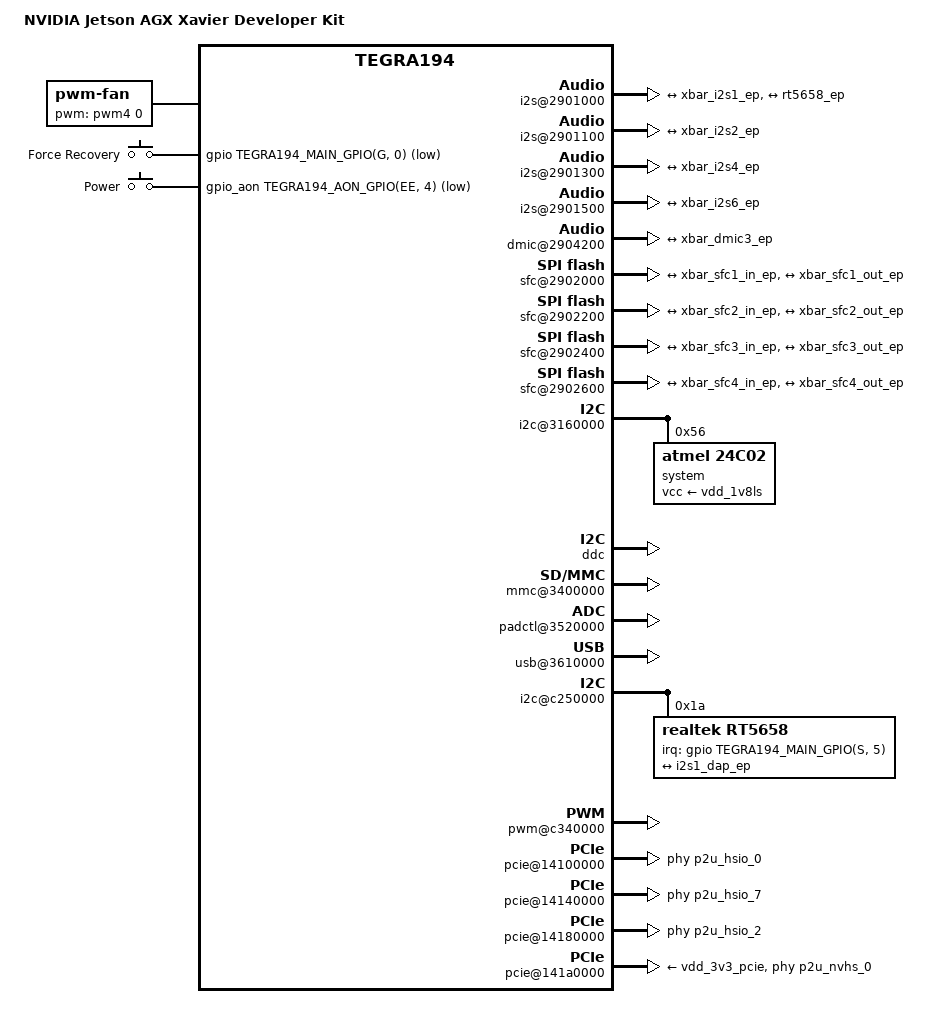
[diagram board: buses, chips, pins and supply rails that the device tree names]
// SPDX-License-Identifier: GPL-2.0
/dts-v1/;

#include <dt-bindings/input/linux-event-codes.h>
#include <dt-bindings/input/gpio-keys.h>

#include "tegra194-p2888.dtsi"

/ {
	model = "NVIDIA Jetson AGX Xavier Developer Kit";
	compatible = "nvidia,p2972-0000", "nvidia,tegra194";

	bus@0 {
		aconnect@2900000 {
			status = "okay";

			dma-controller@2930000 {
				status = "okay";
			};

			interrupt-controller@2a40000 {
				status = "okay";
			};

			ahub@2900800 {
				status = "okay";

				ports {
					#address-cells = <1>;
					#size-cells = <0>;

					port@0 {
						reg = <0x0>;

						xbar_admaif0_ep: endpoint {
							remote-endpoint = <&admaif0_ep>;
						};
					};

					port@1 {
						reg = <0x1>;

						xbar_admaif1_ep: endpoint {
							remote-endpoint = <&admaif1_ep>;
						};
					};

					port@2 {
						reg = <0x2>;

						xbar_admaif2_ep: endpoint {
							remote-endpoint = <&admaif2_ep>;
						};
					};

					port@3 {
						reg = <0x3>;

						xbar_admaif3_ep: endpoint {
							remote-endpoint = <&admaif3_ep>;
						};
					};

					port@4 {
						reg = <0x4>;

						xbar_admaif4_ep: endpoint {
							remote-endpoint = <&admaif4_ep>;
						};
					};

					port@5 {
						reg = <0x5>;

						xbar_admaif5_ep: endpoint {
							remote-endpoint = <&admaif5_ep>;
						};
					};

					port@6 {
						reg = <0x6>;

						xbar_admaif6_ep: endpoint {
							remote-endpoint = <&admaif6_ep>;
						};
					};

					port@7 {
						reg = <0x7>;

						xbar_admaif7_ep: endpoint {
							remote-endpoint = <&admaif7_ep>;
						};
					};

					port@8 {
						reg = <0x8>;

						xbar_admaif8_ep: endpoint {
							remote-endpoint = <&admaif8_ep>;
						};
					};

					port@9 {
						reg = <0x9>;

						xbar_admaif9_ep: endpoint {
							remote-endpoint = <&admaif9_ep>;
						};
					};

					port@a {
						reg = <0xa>;

						xbar_admaif10_ep: endpoint {
							remote-endpoint = <&admaif10_ep>;
						};
					};

					port@b {
						reg = <0xb>;

						xbar_admaif11_ep: endpoint {
							remote-endpoint = <&admaif11_ep>;
						};
					};

					port@c {
						reg = <0xc>;

						xbar_admaif12_ep: endpoint {
							remote-endpoint = <&admaif12_ep>;
						};
					};

					port@d {
						reg = <0xd>;

						xbar_admaif13_ep: endpoint {
							remote-endpoint = <&admaif13_ep>;
						};
					};

					port@e {
						reg = <0xe>;

						xbar_admaif14_ep: endpoint {
							remote-endpoint = <&admaif14_ep>;
						};
					};

					port@f {
						reg = <0xf>;

						xbar_admaif15_ep: endpoint {
							remote-endpoint = <&admaif15_ep>;
						};
					};

					port@10 {
						reg = <0x10>;

						xbar_admaif16_ep: endpoint {
							remote-endpoint = <&admaif16_ep>;
						};
					};

					port@11 {
						reg = <0x11>;

						xbar_admaif17_ep: endpoint {
							remote-endpoint = <&admaif17_ep>;
						};
					};

					port@12 {
						reg = <0x12>;

						xbar_admaif18_ep: endpoint {
							remote-endpoint = <&admaif18_ep>;
						};
					};

					port@13 {
						reg = <0x13>;

						xbar_admaif19_ep: endpoint {
							remote-endpoint = <&admaif19_ep>;
						};
					};

					xbar_i2s1_port: port@14 {
						reg = <0x14>;

						xbar_i2s1_ep: endpoint {
							remote-endpoint = <&i2s1_cif_ep>;
						};
					};

					xbar_i2s2_port: port@15 {
						reg = <0x15>;

						xbar_i2s2_ep: endpoint {
							remote-endpoint = <&i2s2_cif_ep>;
						};
					};

					xbar_i2s4_port: port@17 {
						reg = <0x17>;

						xbar_i2s4_ep: endpoint {
							remote-endpoint = <&i2s4_cif_ep>;
						};
					};

					xbar_i2s6_port: port@19 {
						reg = <0x19>;

						xbar_i2s6_ep: endpoint {
							remote-endpoint = <&i2s6_cif_ep>;
						};
					};

					xbar_dmic3_port: port@1c {
						reg = <0x1c>;

						xbar_dmic3_ep: endpoint {
							remote-endpoint = <&dmic3_cif_ep>;
						};
					};

					xbar_sfc1_in_port: port@20 {
						reg = <0x20>;

						xbar_sfc1_in_ep: endpoint {
							remote-endpoint = <&sfc1_cif_in_ep>;
						};
					};

					port@21 {
						reg = <0x21>;

						xbar_sfc1_out_ep: endpoint {
							remote-endpoint = <&sfc1_cif_out_ep>;
						};
					};

					xbar_sfc2_in_port: port@22 {
						reg = <0x22>;

						xbar_sfc2_in_ep: endpoint {
							remote-endpoint = <&sfc2_cif_in_ep>;
						};
					};

					port@23 {
						reg = <0x23>;

						xbar_sfc2_out_ep: endpoint {
							remote-endpoint = <&sfc2_cif_out_ep>;
						};
					};

					xbar_sfc3_in_port: port@24 {
						reg = <0x24>;

						xbar_sfc3_in_ep: endpoint {
							remote-endpoint = <&sfc3_cif_in_ep>;
						};
					};

					port@25 {
						reg = <0x25>;

						xbar_sfc3_out_ep: endpoint {
							remote-endpoint = <&sfc3_cif_out_ep>;
						};
					};

					xbar_sfc4_in_port: port@26 {
						reg = <0x26>;

						xbar_sfc4_in_ep: endpoint {
							remote-endpoint = <&sfc4_cif_in_ep>;
						};
					};

					port@27 {
						reg = <0x27>;

						xbar_sfc4_out_ep: endpoint {
							remote-endpoint = <&sfc4_cif_out_ep>;
						};
					};

					xbar_mvc1_in_port: port@28 {
						reg = <0x28>;

						xbar_mvc1_in_ep: endpoint {
							remote-endpoint = <&mvc1_cif_in_ep>;
						};
					};

					port@29 {
						reg = <0x29>;

						xbar_mvc1_out_ep: endpoint {
							remote-endpoint = <&mvc1_cif_out_ep>;
						};
					};

					xbar_mvc2_in_port: port@2a {
						reg = <0x2a>;

						xbar_mvc2_in_ep: endpoint {
							remote-endpoint = <&mvc2_cif_in_ep>;
						};
					};

					port@2b {
						reg = <0x2b>;

						xbar_mvc2_out_ep: endpoint {
							remote-endpoint = <&mvc2_cif_out_ep>;
						};
					};

					xbar_amx1_in1_port: port@2c {
						reg = <0x2c>;

						xbar_amx1_in1_ep: endpoint {
							remote-endpoint = <&amx1_in1_ep>;
						};
					};

					xbar_amx1_in2_port: port@2d {
						reg = <0x2d>;

						xbar_amx1_in2_ep: endpoint {
							remote-endpoint = <&amx1_in2_ep>;
						};
					};

					xbar_amx1_in3_port: port@2e {
						reg = <0x2e>;

						xbar_amx1_in3_ep: endpoint {
							remote-endpoint = <&amx1_in3_ep>;
						};
					};

					xbar_amx1_in4_port: port@2f {
						reg = <0x2f>;

						xbar_amx1_in4_ep: endpoint {
							remote-endpoint = <&amx1_in4_ep>;
						};
					};

					port@30 {
						reg = <0x30>;

						xbar_amx1_out_ep: endpoint {
							remote-endpoint = <&amx1_out_ep>;
						};
					};

					xbar_amx2_in1_port: port@31 {
						reg = <0x31>;

						xbar_amx2_in1_ep: endpoint {
							remote-endpoint = <&amx2_in1_ep>;
						};
					};

					xbar_amx2_in2_port: port@32 {
						reg = <0x32>;

						xbar_amx2_in2_ep: endpoint {
							remote-endpoint = <&amx2_in2_ep>;
						};
					};

					xbar_amx2_in3_port: port@33 {
						reg = <0x33>;

						xbar_amx2_in3_ep: endpoint {
							remote-endpoint = <&amx2_in3_ep>;
						};
					};

					xbar_amx2_in4_port: port@34 {
						reg = <0x34>;

						xbar_amx2_in4_ep: endpoint {
							remote-endpoint = <&amx2_in4_ep>;
						};
					};

					port@35 {
						reg = <0x35>;

						xbar_amx2_out_ep: endpoint {
							remote-endpoint = <&amx2_out_ep>;
						};
					};

					xbar_amx3_in1_port: port@36 {
						reg = <0x36>;

						xbar_amx3_in1_ep: endpoint {
							remote-endpoint = <&amx3_in1_ep>;
						};
					};

					xbar_amx3_in2_port: port@37 {
						reg = <0x37>;

						xbar_amx3_in2_ep: endpoint {
							remote-endpoint = <&amx3_in2_ep>;
						};
					};

					xbar_amx3_in3_port: port@38 {
						reg = <0x38>;

						xbar_amx3_in3_ep: endpoint {
							remote-endpoint = <&amx3_in3_ep>;
						};
					};

					xbar_amx3_in4_port: port@39 {
						reg = <0x39>;

						xbar_amx3_in4_ep: endpoint {
							remote-endpoint = <&amx3_in4_ep>;
						};
					};

					port@3a {
						reg = <0x3a>;

						xbar_amx3_out_ep: endpoint {
							remote-endpoint = <&amx3_out_ep>;
						};
					};

					xbar_amx4_in1_port: port@3b {
						reg = <0x3b>;

						xbar_amx4_in1_ep: endpoint {
							remote-endpoint = <&amx4_in1_ep>;
						};
					};

					xbar_amx4_in2_port: port@3c {
						reg = <0x3c>;

						xbar_amx4_in2_ep: endpoint {
							remote-endpoint = <&amx4_in2_ep>;
						};
					};

					xbar_amx4_in3_port: port@3d {
						reg = <0x3d>;

						xbar_amx4_in3_ep: endpoint {
							remote-endpoint = <&amx4_in3_ep>;
						};
					};

					xbar_amx4_in4_port: port@3e {
						reg = <0x3e>;

						xbar_amx4_in4_ep: endpoint {
							remote-endpoint = <&amx4_in4_ep>;
						};
					};

					port@3f {
						reg = <0x3f>;

						xbar_amx4_out_ep: endpoint {
							remote-endpoint = <&amx4_out_ep>;
						};
					};

					xbar_adx1_in_port: port@40 {
						reg = <0x40>;

						xbar_adx1_in_ep: endpoint {
							remote-endpoint = <&adx1_in_ep>;
						};
					};

					port@41 {
						reg = <0x41>;

						xbar_adx1_out1_ep: endpoint {
							remote-endpoint = <&adx1_out1_ep>;
						};
					};

					port@42 {
						reg = <0x42>;

						xbar_adx1_out2_ep: endpoint {
							remote-endpoint = <&adx1_out2_ep>;
						};
					};

					port@43 {
						reg = <0x43>;

						xbar_adx1_out3_ep: endpoint {
							remote-endpoint = <&adx1_out3_ep>;
						};
					};

					port@44 {
						reg = <0x44>;

						xbar_adx1_out4_ep: endpoint {
							remote-endpoint = <&adx1_out4_ep>;
						};
					};

					xbar_adx2_in_port: port@45 {
						reg = <0x45>;

						xbar_adx2_in_ep: endpoint {
							remote-endpoint = <&adx2_in_ep>;
						};
					};

					port@46 {
						reg = <0x46>;

						xbar_adx2_out1_ep: endpoint {
							remote-endpoint = <&adx2_out1_ep>;
						};
					};

					port@47 {
						reg = <0x47>;

						xbar_adx2_out2_ep: endpoint {
							remote-endpoint = <&adx2_out2_ep>;
						};
					};

					port@48 {
						reg = <0x48>;

						xbar_adx2_out3_ep: endpoint {
							remote-endpoint = <&adx2_out3_ep>;
						};
					};

					port@49 {
						reg = <0x49>;

						xbar_adx2_out4_ep: endpoint {
							remote-endpoint = <&adx2_out4_ep>;
						};
					};

					xbar_adx3_in_port: port@4a {
						reg = <0x4a>;

						xbar_adx3_in_ep: endpoint {
							remote-endpoint = <&adx3_in_ep>;
						};
					};

					port@4b {
						reg = <0x4b>;

						xbar_adx3_out1_ep: endpoint {
							remote-endpoint = <&adx3_out1_ep>;
						};
					};

					port@4c {
						reg = <0x4c>;

						xbar_adx3_out2_ep: endpoint {
							remote-endpoint = <&adx3_out2_ep>;
						};
					};

					port@4d {
						reg = <0x4d>;

						xbar_adx3_out3_ep: endpoint {
							remote-endpoint = <&adx3_out3_ep>;
						};
					};

					port@4e {
						reg = <0x4e>;

						xbar_adx3_out4_ep: endpoint {
							remote-endpoint = <&adx3_out4_ep>;
						};
					};

					xbar_adx4_in_port: port@4f {
						reg = <0x4f>;

						xbar_adx4_in_ep: endpoint {
							remote-endpoint = <&adx4_in_ep>;
						};
					};

					port@50 {
						reg = <0x50>;

						xbar_adx4_out1_ep: endpoint {
							remote-endpoint = <&adx4_out1_ep>;
						};
					};

					port@51 {
						reg = <0x51>;

						xbar_adx4_out2_ep: endpoint {
							remote-endpoint = <&adx4_out2_ep>;
						};
					};

					port@52 {
						reg = <0x52>;

						xbar_adx4_out3_ep: endpoint {
							remote-endpoint = <&adx4_out3_ep>;
						};
					};

					port@53 {
						reg = <0x53>;

						xbar_adx4_out4_ep: endpoint {
							remote-endpoint = <&adx4_out4_ep>;
						};
					};

					xbar_mixer_in1_port: port@54 {
						reg = <0x54>;

						xbar_mixer_in1_ep: endpoint {
							remote-endpoint = <&mixer_in1_ep>;
						};
					};

					xbar_mixer_in2_port: port@55 {
						reg = <0x55>;

						xbar_mixer_in2_ep: endpoint {
							remote-endpoint = <&mixer_in2_ep>;
						};
					};

					xbar_mixer_in3_port: port@56 {
						reg = <0x56>;

						xbar_mixer_in3_ep: endpoint {
							remote-endpoint = <&mixer_in3_ep>;
						};
					};

					xbar_mixer_in4_port: port@57 {
						reg = <0x57>;

						xbar_mixer_in4_ep: endpoint {
							remote-endpoint = <&mixer_in4_ep>;
						};
					};

					xbar_mixer_in5_port: port@58 {
						reg = <0x58>;

						xbar_mixer_in5_ep: endpoint {
							remote-endpoint = <&mixer_in5_ep>;
						};
					};

					xbar_mixer_in6_port: port@59 {
						reg = <0x59>;

						xbar_mixer_in6_ep: endpoint {
							remote-endpoint = <&mixer_in6_ep>;
						};
					};

					xbar_mixer_in7_port: port@5a {
						reg = <0x5a>;

						xbar_mixer_in7_ep: endpoint {
							remote-endpoint = <&mixer_in7_ep>;
						};
					};

					xbar_mixer_in8_port: port@5b {
						reg = <0x5b>;

						xbar_mixer_in8_ep: endpoint {
							remote-endpoint = <&mixer_in8_ep>;
						};
					};

					xbar_mixer_in9_port: port@5c {
						reg = <0x5c>;

						xbar_mixer_in9_ep: endpoint {
							remote-endpoint = <&mixer_in9_ep>;
						};
					};

					xbar_mixer_in10_port: port@5d {
						reg = <0x5d>;

						xbar_mixer_in10_ep: endpoint {
							remote-endpoint = <&mixer_in10_ep>;
						};
					};

					port@5e {
						reg = <0x5e>;

						xbar_mixer_out1_ep: endpoint {
							remote-endpoint = <&mixer_out1_ep>;
						};
					};

					port@5f {
						reg = <0x5f>;

						xbar_mixer_out2_ep: endpoint {
							remote-endpoint = <&mixer_out2_ep>;
						};
					};

					port@60 {
						reg = <0x60>;

						xbar_mixer_out3_ep: endpoint {
							remote-endpoint = <&mixer_out3_ep>;
						};
					};

					port@61 {
						reg = <0x61>;

						xbar_mixer_out4_ep: endpoint {
							remote-endpoint = <&mixer_out4_ep>;
						};
					};

					port@62 {
						reg = <0x62>;

						xbar_mixer_out5_ep: endpoint {
							remote-endpoint = <&mixer_out5_ep>;
						};
					};

					xbar_asrc_in1_port: port@63 {
						reg = <0x63>;

						xbar_asrc_in1_ep: endpoint {
							remote-endpoint = <&asrc_in1_ep>;
						};
					};

					port@64 {
						reg = <0x64>;

						xbar_asrc_out1_ep: endpoint {
							remote-endpoint = <&asrc_out1_ep>;
						};
					};

					xbar_asrc_in2_port: port@65 {
						reg = <0x65>;

						xbar_asrc_in2_ep: endpoint {
							remote-endpoint = <&asrc_in2_ep>;
						};
					};

					port@66 {
						reg = <0x66>;

						xbar_asrc_out2_ep: endpoint {
							remote-endpoint = <&asrc_out2_ep>;
						};
					};

					xbar_asrc_in3_port: port@67 {
						reg = <0x67>;

						xbar_asrc_in3_ep: endpoint {
							remote-endpoint = <&asrc_in3_ep>;
						};
					};

					port@68 {
						reg = <0x68>;

						xbar_asrc_out3_ep: endpoint {
							remote-endpoint = <&asrc_out3_ep>;
						};
					};

					xbar_asrc_in4_port: port@69 {
						reg = <0x69>;

						xbar_asrc_in4_ep: endpoint {
							remote-endpoint = <&asrc_in4_ep>;
						};
					};

					port@6a {
						reg = <0x6a>;

						xbar_asrc_out4_ep: endpoint {
							remote-endpoint = <&asrc_out4_ep>;
						};
					};

					xbar_asrc_in5_port: port@6b {
						reg = <0x6b>;

						xbar_asrc_in5_ep: endpoint {
							remote-endpoint = <&asrc_in5_ep>;
						};
					};

					port@6c {
						reg = <0x6c>;

						xbar_asrc_out5_ep: endpoint {
							remote-endpoint = <&asrc_out5_ep>;
						};
					};

					xbar_asrc_in6_port: port@6d {
						reg = <0x6d>;

						xbar_asrc_in6_ep: endpoint {
							remote-endpoint = <&asrc_in6_ep>;
						};
					};

					port@6e {
						reg = <0x6e>;

						xbar_asrc_out6_ep: endpoint {
							remote-endpoint = <&asrc_out6_ep>;
						};
					};

					xbar_asrc_in7_port: port@6f {
						reg = <0x6f>;

						xbar_asrc_in7_ep: endpoint {
							remote-endpoint = <&asrc_in7_ep>;
						};
					};
				};

				admaif@290f000 {
					status = "okay";

					ports {
						#address-cells = <1>;
						#size-cells = <0>;

						admaif0_port: port@0 {
							reg = <0x0>;

							admaif0_ep: endpoint {
								remote-endpoint = <&xbar_admaif0_ep>;
							};
						};

						admaif1_port: port@1 {
							reg = <0x1>;

							admaif1_ep: endpoint {
								remote-endpoint = <&xbar_admaif1_ep>;
							};
						};

						admaif2_port: port@2 {
							reg = <0x2>;

							admaif2_ep: endpoint {
								remote-endpoint = <&xbar_admaif2_ep>;
							};
						};

						admaif3_port: port@3 {
							reg = <0x3>;

							admaif3_ep: endpoint {
								remote-endpoint = <&xbar_admaif3_ep>;
							};
						};

						admaif4_port: port@4 {
							reg = <0x4>;

							admaif4_ep: endpoint {
								remote-endpoint = <&xbar_admaif4_ep>;
							};
						};

						admaif5_port: port@5 {
							reg = <0x5>;

							admaif5_ep: endpoint {
								remote-endpoint = <&xbar_admaif5_ep>;
							};
						};

						admaif6_port: port@6 {
							reg = <0x6>;

							admaif6_ep: endpoint {
								remote-endpoint = <&xbar_admaif6_ep>;
							};
						};

						admaif7_port: port@7 {
							reg = <0x7>;

							admaif7_ep: endpoint {
								remote-endpoint = <&xbar_admaif7_ep>;
							};
						};

						admaif8_port: port@8 {
							reg = <0x8>;

							admaif8_ep: endpoint {
								remote-endpoint = <&xbar_admaif8_ep>;
							};
						};

						admaif9_port: port@9 {
							reg = <0x9>;

							admaif9_ep: endpoint {
								remote-endpoint = <&xbar_admaif9_ep>;
							};
						};

						admaif10_port: port@a {
							reg = <0xa>;

							admaif10_ep: endpoint {
								remote-endpoint = <&xbar_admaif10_ep>;
							};
						};

						admaif11_port: port@b {
							reg = <0xb>;

							admaif11_ep: endpoint {
								remote-endpoint = <&xbar_admaif11_ep>;
							};
						};

						admaif12_port: port@c {
							reg = <0xc>;

							admaif12_ep: endpoint {
								remote-endpoint = <&xbar_admaif12_ep>;
							};
						};

						admaif13_port: port@d {
							reg = <0xd>;

							admaif13_ep: endpoint {
								remote-endpoint = <&xbar_admaif13_ep>;
							};
						};

						admaif14_port: port@e {
							reg = <0xe>;

							admaif14_ep: endpoint {
								remote-endpoint = <&xbar_admaif14_ep>;
							};
						};

						admaif15_port: port@f {
							reg = <0xf>;

							admaif15_ep: endpoint {
								remote-endpoint = <&xbar_admaif15_ep>;
							};
						};

						admaif16_port: port@10 {
							reg = <0x10>;

							admaif16_ep: endpoint {
								remote-endpoint = <&xbar_admaif16_ep>;
							};
						};

						admaif17_port: port@11 {
							reg = <0x11>;

							admaif17_ep: endpoint {
								remote-endpoint = <&xbar_admaif17_ep>;
							};
						};

						admaif18_port: port@12 {
							reg = <0x12>;

							admaif18_ep: endpoint {
								remote-endpoint = <&xbar_admaif18_ep>;
							};
						};

						admaif19_port: port@13 {
							reg = <0x13>;

							admaif19_ep: endpoint {
								remote-endpoint = <&xbar_admaif19_ep>;
							};
						};
					};
				};

				i2s@2901000 {
					status = "okay";

					ports {
						#address-cells = <1>;
						#size-cells = <0>;

						port@0 {
							reg = <0>;

							i2s1_cif_ep: endpoint {
								remote-endpoint = <&xbar_i2s1_ep>;
							};
						};

						i2s1_port: port@1 {
							reg = <1>;

							i2s1_dap_ep: endpoint {
								dai-format = "i2s";
								remote-endpoint = <&rt5658_ep>;
							};
						};
					};
				};

				i2s@2901100 {
					status = "okay";

					ports {
						#address-cells = <1>;
						#size-cells = <0>;

						port@0 {
							reg = <0>;

							i2s2_cif_ep: endpoint {
								remote-endpoint = <&xbar_i2s2_ep>;
							};
						};

						i2s2_port: port@1 {
							reg = <1>;

							i2s2_dap_ep: endpoint {
								dai-format = "i2s";
								/* Place holder for external Codec */
							};
						};
					};
				};

				i2s@2901300 {
					status = "okay";

					ports {
						#address-cells = <1>;
						#size-cells = <0>;

						port@0 {
							reg = <0>;

							i2s4_cif_ep: endpoint {
								remote-endpoint = <&xbar_i2s4_ep>;
							};
						};

						i2s4_port: port@1 {
							reg = <1>;

							i2s4_dap_ep: endpoint {
								dai-format = "i2s";
								/* Place holder for external Codec */
							};
						};
					};
				};

				i2s@2901500 {
					status = "okay";

					ports {
						#address-cells = <1>;
						#size-cells = <0>;

						port@0 {
							reg = <0>;

							i2s6_cif_ep: endpoint {
								remote-endpoint = <&xbar_i2s6_ep>;
							};
						};

						i2s6_port: port@1 {
							reg = <1>;

							i2s6_dap_ep: endpoint {
								dai-format = "i2s";
								/* Place holder for external Codec */
							};
						};
					};
				};

				dmic@2904200 {
					status = "okay";

					ports {
						#address-cells = <1>;
						#size-cells = <0>;

						port@0 {
							reg = <0>;

							dmic3_cif_ep: endpoint {
								remote-endpoint = <&xbar_dmic3_ep>;
							};
						};

						dmic3_port: port@1 {
							reg = <1>;

							dmic3_dap_ep: endpoint {
								/* Place holder for external Codec */
							};
						};
					};
				};

				sfc@2902000 {
					status = "okay";

					ports {
						#address-cells = <1>;
						#size-cells = <0>;

						port@0 {
							reg = <0>;

							sfc1_cif_in_ep: endpoint {
								remote-endpoint = <&xbar_sfc1_in_ep>;
							};
						};

						sfc1_out_port: port@1 {
							reg = <1>;

							sfc1_cif_out_ep: endpoint {
								remote-endpoint = <&xbar_sfc1_out_ep>;
							};
						};
					};
				};

				sfc@2902200 {
					status = "okay";

					ports {
						#address-cells = <1>;
						#size-cells = <0>;

						port@0 {
							reg = <0>;

							sfc2_cif_in_ep: endpoint {
								remote-endpoint = <&xbar_sfc2_in_ep>;
							};
						};

						sfc2_out_port: port@1 {
							reg = <1>;

							sfc2_cif_out_ep: endpoint {
								remote-endpoint = <&xbar_sfc2_out_ep>;
							};
						};
					};
				};

				sfc@2902400 {
					status = "okay";

					ports {
						#address-cells = <1>;
						#size-cells = <0>;

						port@0 {
							reg = <0>;

							sfc3_cif_in_ep: endpoint {
								remote-endpoint = <&xbar_sfc3_in_ep>;
							};
						};

						sfc3_out_port: port@1 {
							reg = <1>;

							sfc3_cif_out_ep: endpoint {
								remote-endpoint = <&xbar_sfc3_out_ep>;
							};
						};
					};
				};

				sfc@2902600 {
					status = "okay";

					ports {
						#address-cells = <1>;
						#size-cells = <0>;

						port@0 {
							reg = <0>;

							sfc4_cif_in_ep: endpoint {
								remote-endpoint = <&xbar_sfc4_in_ep>;
							};
						};

						sfc4_out_port: port@1 {
							reg = <1>;

							sfc4_cif_out_ep: endpoint {
								remote-endpoint = <&xbar_sfc4_out_ep>;
							};
						};
					};
				};

				mvc@290a000 {
					status = "okay";

					ports {
						#address-cells = <1>;
						#size-cells = <0>;

						port@0 {
							reg = <0>;

							mvc1_cif_in_ep: endpoint {
								remote-endpoint = <&xbar_mvc1_in_ep>;
							};
						};

						mvc1_out_port: port@1 {
							reg = <1>;

							mvc1_cif_out_ep: endpoint {
								remote-endpoint = <&xbar_mvc1_out_ep>;
							};
						};
					};
				};

				mvc@290a200 {
					status = "okay";

					ports {
						#address-cells = <1>;
						#size-cells = <0>;

						port@0 {
							reg = <0>;

							mvc2_cif_in_ep: endpoint {
								remote-endpoint = <&xbar_mvc2_in_ep>;
							};
						};

						mvc2_out_port: port@1 {
							reg = <1>;

							mvc2_cif_out_ep: endpoint {
								remote-endpoint = <&xbar_mvc2_out_ep>;
							};
						};
					};
				};

				amx@2903000 {
					status = "okay";

					ports {
						#address-cells = <1>;
						#size-cells = <0>;

						port@0 {
							reg = <0>;

							amx1_in1_ep: endpoint {
								remote-endpoint = <&xbar_amx1_in1_ep>;
							};
						};

						port@1 {
							reg = <1>;

							amx1_in2_ep: endpoint {
								remote-endpoint = <&xbar_amx1_in2_ep>;
							};
						};

						port@2 {
							reg = <2>;

							amx1_in3_ep: endpoint {
								remote-endpoint = <&xbar_amx1_in3_ep>;
							};
						};

						port@3 {
							reg = <3>;

							amx1_in4_ep: endpoint {
								remote-endpoint = <&xbar_amx1_in4_ep>;
							};
						};

						amx1_out_port: port@4 {
							reg = <4>;

							amx1_out_ep: endpoint {
								remote-endpoint = <&xbar_amx1_out_ep>;
							};
						};
					};
				};

				amx@2903100 {
					status = "okay";

					ports {
						#address-cells = <1>;
						#size-cells = <0>;

						port@0 {
							reg = <0>;

							amx2_in1_ep: endpoint {
								remote-endpoint = <&xbar_amx2_in1_ep>;
							};
						};

						port@1 {
							reg = <1>;

							amx2_in2_ep: endpoint {
								remote-endpoint = <&xbar_amx2_in2_ep>;
							};
						};

						amx2_in3_port: port@2 {
							reg = <2>;

							amx2_in3_ep: endpoint {
								remote-endpoint = <&xbar_amx2_in3_ep>;
							};
						};

						amx2_in4_port: port@3 {
							reg = <3>;

							amx2_in4_ep: endpoint {
								remote-endpoint = <&xbar_amx2_in4_ep>;
							};
						};

						amx2_out_port: port@4 {
							reg = <4>;

							amx2_out_ep: endpoint {
								remote-endpoint = <&xbar_amx2_out_ep>;
							};
						};
					};
				};

				amx@2903200 {
					status = "okay";

					ports {
						#address-cells = <1>;
						#size-cells = <0>;

						port@0 {
							reg = <0>;

							amx3_in1_ep: endpoint {
								remote-endpoint = <&xbar_amx3_in1_ep>;
							};
						};

						port@1 {
							reg = <1>;

							amx3_in2_ep: endpoint {
								remote-endpoint = <&xbar_amx3_in2_ep>;
							};
						};

						port@2 {
							reg = <2>;

							amx3_in3_ep: endpoint {
								remote-endpoint = <&xbar_amx3_in3_ep>;
							};
						};

						port@3 {
							reg = <3>;

							amx3_in4_ep: endpoint {
								remote-endpoint = <&xbar_amx3_in4_ep>;
							};
						};

						amx3_out_port: port@4 {
							reg = <4>;

							amx3_out_ep: endpoint {
								remote-endpoint = <&xbar_amx3_out_ep>;
							};
						};
					};
				};

				amx@2903300 {
					status = "okay";

					ports {
						#address-cells = <1>;
						#size-cells = <0>;

						port@0 {
							reg = <0>;

							amx4_in1_ep: endpoint {
								remote-endpoint = <&xbar_amx4_in1_ep>;
							};
						};

						port@1 {
							reg = <1>;

							amx4_in2_ep: endpoint {
								remote-endpoint = <&xbar_amx4_in2_ep>;
							};
						};

						port@2 {
							reg = <2>;

							amx4_in3_ep: endpoint {
								remote-endpoint = <&xbar_amx4_in3_ep>;
							};
						};

						port@3 {
							reg = <3>;

							amx4_in4_ep: endpoint {
								remote-endpoint = <&xbar_amx4_in4_ep>;
							};
						};

						amx4_out_port: port@4 {
							reg = <4>;

							amx4_out_ep: endpoint {
								remote-endpoint = <&xbar_amx4_out_ep>;
							};
						};
					};
				};

				adx@2903800 {
					status = "okay";

					ports {
						#address-cells = <1>;
						#size-cells = <0>;

						port@0 {
							reg = <0>;

							adx1_in_ep: endpoint {
								remote-endpoint = <&xbar_adx1_in_ep>;
							};
						};

						adx1_out1_port: port@1 {
							reg = <1>;

							adx1_out1_ep: endpoint {
								remote-endpoint = <&xbar_adx1_out1_ep>;
							};
						};

						adx1_out2_port: port@2 {
							reg = <2>;

							adx1_out2_ep: endpoint {
								remote-endpoint = <&xbar_adx1_out2_ep>;
							};
						};

						adx1_out3_port: port@3 {
							reg = <3>;

							adx1_out3_ep: endpoint {
								remote-endpoint = <&xbar_adx1_out3_ep>;
							};
						};

						adx1_out4_port: port@4 {
							reg = <4>;

							adx1_out4_ep: endpoint {
								remote-endpoint = <&xbar_adx1_out4_ep>;
							};
						};
					};
				};

				adx@2903900 {
					status = "okay";

					ports {
						#address-cells = <1>;
						#size-cells = <0>;

						port@0 {
							reg = <0>;

							adx2_in_ep: endpoint {
								remote-endpoint = <&xbar_adx2_in_ep>;
							};
						};

						adx2_out1_port: port@1 {
							reg = <1>;

							adx2_out1_ep: endpoint {
								remote-endpoint = <&xbar_adx2_out1_ep>;
							};
						};

						adx2_out2_port: port@2 {
							reg = <2>;

							adx2_out2_ep: endpoint {
								remote-endpoint = <&xbar_adx2_out2_ep>;
							};
						};

						adx2_out3_port: port@3 {
							reg = <3>;

							adx2_out3_ep: endpoint {
								remote-endpoint = <&xbar_adx2_out3_ep>;
							};
						};

						adx2_out4_port: port@4 {
							reg = <4>;

							adx2_out4_ep: endpoint {
								remote-endpoint = <&xbar_adx2_out4_ep>;
							};
						};
					};
				};

				adx@2903a00 {
					status = "okay";

					ports {
						#address-cells = <1>;
						#size-cells = <0>;

						port@0 {
							reg = <0>;

							adx3_in_ep: endpoint {
								remote-endpoint = <&xbar_adx3_in_ep>;
							};
						};

						adx3_out1_port: port@1 {
							reg = <1>;

							adx3_out1_ep: endpoint {
								remote-endpoint = <&xbar_adx3_out1_ep>;
							};
						};

						adx3_out2_port: port@2 {
							reg = <2>;

							adx3_out2_ep: endpoint {
								remote-endpoint = <&xbar_adx3_out2_ep>;
							};
						};

						adx3_out3_port: port@3 {
							reg = <3>;

							adx3_out3_ep: endpoint {
								remote-endpoint = <&xbar_adx3_out3_ep>;
							};
						};

						adx3_out4_port: port@4 {
							reg = <4>;

							adx3_out4_ep: endpoint {
								remote-endpoint = <&xbar_adx3_out4_ep>;
							};
						};
					};
				};

				adx@2903b00 {
					status = "okay";

					ports {
						#address-cells = <1>;
						#size-cells = <0>;

						port@0 {
							reg = <0>;

							adx4_in_ep: endpoint {
								remote-endpoint = <&xbar_adx4_in_ep>;
							};
						};

						adx4_out1_port: port@1 {
							reg = <1>;

							adx4_out1_ep: endpoint {
								remote-endpoint = <&xbar_adx4_out1_ep>;
							};
						};

						adx4_out2_port: port@2 {
							reg = <2>;

							adx4_out2_ep: endpoint {
								remote-endpoint = <&xbar_adx4_out2_ep>;
							};
						};

						adx4_out3_port: port@3 {
							reg = <3>;

							adx4_out3_ep: endpoint {
								remote-endpoint = <&xbar_adx4_out3_ep>;
							};
						};

						adx4_out4_port: port@4 {
							reg = <4>;

							adx4_out4_ep: endpoint {
								remote-endpoint = <&xbar_adx4_out4_ep>;
							};
						};
					};
				};

				amixer@290bb00 {
					status = "okay";

					ports {
						#address-cells = <1>;
						#size-cells = <0>;

						port@0 {
							reg = <0x0>;

							mixer_in1_ep: endpoint {
								remote-endpoint = <&xbar_mixer_in1_ep>;
							};
						};

						port@1 {
							reg = <0x1>;

							mixer_in2_ep: endpoint {
								remote-endpoint = <&xbar_mixer_in2_ep>;
							};
						};

						port@2 {
							reg = <0x2>;

							mixer_in3_ep: endpoint {
								remote-endpoint = <&xbar_mixer_in3_ep>;
							};
						};

						port@3 {
							reg = <0x3>;

							mixer_in4_ep: endpoint {
								remote-endpoint = <&xbar_mixer_in4_ep>;
							};
						};

						port@4 {
							reg = <0x4>;

							mixer_in5_ep: endpoint {
								remote-endpoint = <&xbar_mixer_in5_ep>;
							};
						};

						port@5 {
							reg = <0x5>;

							mixer_in6_ep: endpoint {
								remote-endpoint = <&xbar_mixer_in6_ep>;
							};
						};

						port@6 {
							reg = <0x6>;

							mixer_in7_ep: endpoint {
								remote-endpoint = <&xbar_mixer_in7_ep>;
							};
						};

						port@7 {
							reg = <0x7>;

							mixer_in8_ep: endpoint {
								remote-endpoint = <&xbar_mixer_in8_ep>;
							};
						};

						port@8 {
							reg = <0x8>;

							mixer_in9_ep: endpoint {
								remote-endpoint = <&xbar_mixer_in9_ep>;
							};
						};

						port@9 {
							reg = <0x9>;

							mixer_in10_ep: endpoint {
								remote-endpoint = <&xbar_mixer_in10_ep>;
							};
						};

						mixer_out1_port: port@a {
							reg = <0xa>;

							mixer_out1_ep: endpoint {
								remote-endpoint = <&xbar_mixer_out1_ep>;
							};
						};

						mixer_out2_port: port@b {
							reg = <0xb>;

							mixer_out2_ep: endpoint {
								remote-endpoint = <&xbar_mixer_out2_ep>;
							};
						};

						mixer_out3_port: port@c {
							reg = <0xc>;

							mixer_out3_ep: endpoint {
								remote-endpoint = <&xbar_mixer_out3_ep>;
							};
						};

						mixer_out4_port: port@d {
							reg = <0xd>;

							mixer_out4_ep: endpoint {
								remote-endpoint = <&xbar_mixer_out4_ep>;
							};
						};

						mixer_out5_port: port@e {
							reg = <0xe>;

							mixer_out5_ep: endpoint {
								remote-endpoint = <&xbar_mixer_out5_ep>;
							};
						};
					};
				};

				asrc@2910000 {
					status = "okay";

					ports {
						#address-cells = <1>;
						#size-cells = <0>;

						port@0 {
							reg = <0x0>;

							asrc_in1_ep: endpoint {
								remote-endpoint = <&xbar_asrc_in1_ep>;
							};
						};

						port@1 {
							reg = <0x1>;

							asrc_in2_ep: endpoint {
								remote-endpoint = <&xbar_asrc_in2_ep>;
							};
						};

						port@2 {
							reg = <0x2>;

							asrc_in3_ep: endpoint {
								remote-endpoint = <&xbar_asrc_in3_ep>;
							};
						};

						port@3 {
							reg = <0x3>;

							asrc_in4_ep: endpoint {
								remote-endpoint = <&xbar_asrc_in4_ep>;
							};
						};

						port@4 {
							reg = <0x4>;

							asrc_in5_ep: endpoint {
								remote-endpoint = <&xbar_asrc_in5_ep>;
							};
						};

						port@5 {
							reg = <0x5>;

							asrc_in6_ep: endpoint {
								remote-endpoint = <&xbar_asrc_in6_ep>;
							};
						};

						port@6 {
							reg = <0x6>;

							asrc_in7_ep: endpoint {
								remote-endpoint = <&xbar_asrc_in7_ep>;
							};
						};

						asrc_out1_port: port@7 {
							reg = <0x7>;

							asrc_out1_ep: endpoint {
								remote-endpoint = <&xbar_asrc_out1_ep>;
							};
						};

						asrc_out2_port: port@8 {
							reg = <0x8>;

							asrc_out2_ep: endpoint {
								remote-endpoint = <&xbar_asrc_out2_ep>;
							};
						};

						asrc_out3_port: port@9 {
							reg = <0x9>;

							asrc_out3_ep: endpoint {
								remote-endpoint = <&xbar_asrc_out3_ep>;
							};
						};

						asrc_out4_port: port@a {
							reg = <0xa>;

							asrc_out4_ep: endpoint {
								remote-endpoint = <&xbar_asrc_out4_ep>;
							};
						};

						asrc_out5_port: port@b {
							reg = <0xb>;

							asrc_out5_ep: endpoint {
								remote-endpoint = <&xbar_asrc_out5_ep>;
							};
						};

						asrc_out6_port:	port@c {
							reg = <0xc>;

							asrc_out6_ep: endpoint {
								remote-endpoint = <&xbar_asrc_out6_ep>;
							};
						};
					};
				};
			};
		};

		i2c@3160000 {
			eeprom@56 {
				compatible = "atmel,24c02";
				reg = <0x56>;

				label = "system";
				vcc-supply = <&vdd_1v8ls>;
				address-width = <8>;
				pagesize = <8>;
				size = <256>;
				read-only;
			};
		};

		ddc: i2c@31c0000 {
			status = "okay";
		};

		/* SDMMC1 (SD/MMC) */
		mmc@3400000 {
			status = "okay";
		};

		hda@3510000 {
			nvidia,model = "NVIDIA Jetson AGX Xavier HDA";
			status = "okay";
		};

		padctl@3520000 {
			status = "okay";

			pads {
				usb2 {
					lanes {
						usb2-0 {
							status = "okay";
						};

						usb2-1 {
							status = "okay";
						};

						usb2-3 {
							status = "okay";
						};
					};
				};

				usb3 {
					lanes {
						usb3-0 {
							status = "okay";
						};

						usb3-2 {
							status = "okay";
						};

						usb3-3 {
							status = "okay";
						};
					};
				};
			};

			ports {
				usb2-0 {
					mode = "host";
					status = "okay";
				};

				usb2-1 {
					mode = "host";
					status = "okay";
				};

				usb2-3 {
					mode = "host";
					status = "okay";
				};

				usb3-0 {
					nvidia,usb2-companion = <1>;
					status = "okay";
				};

				usb3-2 {
					nvidia,usb2-companion = <0>;
					status = "okay";
				};

				usb3-3 {
					nvidia,usb2-companion = <3>;
					maximum-speed = "super-speed";
					status = "okay";
				};
			};
		};

		usb@3610000 {
			status = "okay";

			phys =	<&{/bus@0/padctl@3520000/pads/usb2/lanes/usb2-0}>,
				<&{/bus@0/padctl@3520000/pads/usb2/lanes/usb2-1}>,
				<&{/bus@0/padctl@3520000/pads/usb2/lanes/usb2-3}>,
				<&{/bus@0/padctl@3520000/pads/usb3/lanes/usb3-0}>,
				<&{/bus@0/padctl@3520000/pads/usb3/lanes/usb3-2}>,
				<&{/bus@0/padctl@3520000/pads/usb3/lanes/usb3-3}>;
			phy-names = "usb2-0", "usb2-1", "usb2-3", "usb3-0", "usb3-2", "usb3-3";
		};

		i2c@c250000 {
			status = "okay";

			rt5658: audio-codec@1a {
				status = "okay";

				compatible = "realtek,rt5658";
				reg = <0x1a>;
				interrupt-parent = <&gpio>;
				interrupts = <TEGRA194_MAIN_GPIO(S, 5) GPIO_ACTIVE_HIGH>;
				clocks = <&bpmp TEGRA194_CLK_AUD_MCLK>;
				clock-names = "mclk";
				realtek,jd-src = <2>;
				sound-name-prefix = "CVB-RT";

				port {
					rt5658_ep: endpoint {
						remote-endpoint = <&i2s1_dap_ep>;
						mclk-fs = <256>;
					};
				};
			};
		};

		pwm@c340000 {
			status = "okay";
		};

		host1x@13e00000 {
			display-hub@15200000 {
				status = "okay";
			};

			dpaux@155c0000 {
				status = "okay";
			};

			dpaux@155d0000 {
				status = "okay";
			};

			dpaux@155e0000 {
				status = "okay";
			};

			/* DP0 */
			sor@15b00000 {
				status = "okay";

				avdd-io-hdmi-dp-supply = <&vdd_1v0>;
				vdd-hdmi-dp-pll-supply = <&vdd_1v8hs>;

				nvidia,dpaux = <&dpaux0>;
			};

			/* DP1 */
			sor@15b40000 {
				status = "okay";

				avdd-io-hdmi-dp-supply = <&vdd_1v0>;
				vdd-hdmi-dp-pll-supply = <&vdd_1v8hs>;

				nvidia,dpaux = <&dpaux1>;
			};

			/* HDMI */
			sor@15b80000 {
				status = "okay";

				avdd-io-hdmi-dp-supply = <&vdd_1v0>;
				vdd-hdmi-dp-pll-supply = <&vdd_1v8hs>;
				hdmi-supply = <&vdd_hdmi>;

				nvidia,ddc-i2c-bus = <&ddc>;
				nvidia,hpd-gpio = <&gpio TEGRA194_MAIN_GPIO(M, 2)
							 GPIO_ACTIVE_LOW>;
			};
		};
	};

	pcie@14100000 {
		status = "okay";

		vddio-pex-ctl-supply = <&vdd_1v8ao>;

		phys = <&p2u_hsio_0>;
		phy-names = "p2u-0";
	};

	pcie@14140000 {
		status = "okay";

		vddio-pex-ctl-supply = <&vdd_1v8ao>;

		phys = <&p2u_hsio_7>;
		phy-names = "p2u-0";
	};

	pcie@14180000 {
		status = "okay";

		vddio-pex-ctl-supply = <&vdd_1v8ao>;

		phys = <&p2u_hsio_2>, <&p2u_hsio_3>, <&p2u_hsio_4>,
		       <&p2u_hsio_5>;
		phy-names = "p2u-0", "p2u-1", "p2u-2", "p2u-3";
	};

	pcie@141a0000 {
		status = "okay";

		vddio-pex-ctl-supply = <&vdd_1v8ao>;
		vpcie3v3-supply = <&vdd_3v3_pcie>;
		vpcie12v-supply = <&vdd_12v_pcie>;

		phys = <&p2u_nvhs_0>, <&p2u_nvhs_1>, <&p2u_nvhs_2>,
		       <&p2u_nvhs_3>, <&p2u_nvhs_4>, <&p2u_nvhs_5>,
		       <&p2u_nvhs_6>, <&p2u_nvhs_7>;

		phy-names = "p2u-0", "p2u-1", "p2u-2", "p2u-3", "p2u-4",
			    "p2u-5", "p2u-6", "p2u-7";
	};

	pcie-ep@141a0000 {
		status = "disabled";

		vddio-pex-ctl-supply = <&vdd_1v8ao>;

		reset-gpios = <&gpio TEGRA194_MAIN_GPIO(GG, 1) GPIO_ACTIVE_LOW>;

		nvidia,refclk-select-gpios = <&gpio_aon TEGRA194_AON_GPIO(AA, 5)
					      GPIO_ACTIVE_HIGH>;

		phys = <&p2u_nvhs_0>, <&p2u_nvhs_1>, <&p2u_nvhs_2>,
		       <&p2u_nvhs_3>, <&p2u_nvhs_4>, <&p2u_nvhs_5>,
		       <&p2u_nvhs_6>, <&p2u_nvhs_7>;

		phy-names = "p2u-0", "p2u-1", "p2u-2", "p2u-3", "p2u-4",
			    "p2u-5", "p2u-6", "p2u-7";
	};

	fan: pwm-fan {
		compatible = "pwm-fan";
		pwms = <&pwm4 0 45334>;

		cooling-levels = <0 64 128 255>;
		#cooling-cells = <2>;
	};

	gpio-keys {
		compatible = "gpio-keys";

		force-recovery {
			label = "Force Recovery";
			gpios = <&gpio TEGRA194_MAIN_GPIO(G, 0)
				       GPIO_ACTIVE_LOW>;
			linux,input-type = <EV_KEY>;
			linux,code = <KEY_SLEEP>;
			debounce-interval = <10>;
		};

		power {
			label = "Power";
			gpios = <&gpio_aon TEGRA194_AON_GPIO(EE, 4)
					   GPIO_ACTIVE_LOW>;
			linux,input-type = <EV_KEY>;
			linux,code = <KEY_POWER>;
			debounce-interval = <10>;
			wakeup-event-action = <EV_ACT_ASSERTED>;
			wakeup-source;
		};
	};

	sound {
		compatible = "nvidia,tegra186-audio-graph-card";
		status = "okay";

		dais = /* ADMAIF (FE) Ports */
		       <&admaif0_port>, <&admaif1_port>, <&admaif2_port>, <&admaif3_port>,
		       <&admaif4_port>, <&admaif5_port>, <&admaif6_port>, <&admaif7_port>,
		       <&admaif8_port>, <&admaif9_port>, <&admaif10_port>, <&admaif11_port>,
		       <&admaif12_port>, <&admaif13_port>, <&admaif14_port>, <&admaif15_port>,
		       <&admaif16_port>, <&admaif17_port>, <&admaif18_port>, <&admaif19_port>,
		       /* XBAR Ports */
		       <&xbar_i2s1_port>, <&xbar_i2s2_port>, <&xbar_i2s4_port>,
		       <&xbar_i2s6_port>, <&xbar_dmic3_port>,
		       <&xbar_sfc1_in_port>, <&xbar_sfc2_in_port>,
		       <&xbar_sfc3_in_port>, <&xbar_sfc4_in_port>,
		       <&xbar_mvc1_in_port>, <&xbar_mvc2_in_port>,
		       <&xbar_amx1_in1_port>, <&xbar_amx1_in2_port>,
		       <&xbar_amx1_in3_port>, <&xbar_amx1_in4_port>,
		       <&xbar_amx2_in1_port>, <&xbar_amx2_in2_port>,
		       <&xbar_amx2_in3_port>, <&xbar_amx2_in4_port>,
		       <&xbar_amx3_in1_port>, <&xbar_amx3_in2_port>,
		       <&xbar_amx3_in3_port>, <&xbar_amx3_in4_port>,
		       <&xbar_amx4_in1_port>, <&xbar_amx4_in2_port>,
		       <&xbar_amx4_in3_port>, <&xbar_amx4_in4_port>,
		       <&xbar_adx1_in_port>, <&xbar_adx2_in_port>,
		       <&xbar_adx3_in_port>, <&xbar_adx4_in_port>,
		       <&xbar_mixer_in1_port>, <&xbar_mixer_in2_port>,
		       <&xbar_mixer_in3_port>, <&xbar_mixer_in4_port>,
		       <&xbar_mixer_in5_port>, <&xbar_mixer_in6_port>,
		       <&xbar_mixer_in7_port>, <&xbar_mixer_in8_port>,
		       <&xbar_mixer_in9_port>, <&xbar_mixer_in10_port>,
		       <&xbar_asrc_in1_port>, <&xbar_asrc_in2_port>,
		       <&xbar_asrc_in3_port>, <&xbar_asrc_in4_port>,
		       <&xbar_asrc_in5_port>, <&xbar_asrc_in6_port>,
		       <&xbar_asrc_in7_port>,
		       /* HW accelerators */
		       <&sfc1_out_port>, <&sfc2_out_port>,
		       <&sfc3_out_port>, <&sfc4_out_port>,
		       <&mvc1_out_port>, <&mvc2_out_port>,
		       <&amx1_out_port>, <&amx2_out_port>,
		       <&amx3_out_port>, <&amx4_out_port>,
		       <&adx1_out1_port>, <&adx1_out2_port>,
		       <&adx1_out3_port>, <&adx1_out4_port>,
		       <&adx2_out1_port>, <&adx2_out2_port>,
		       <&adx2_out3_port>, <&adx2_out4_port>,
		       <&adx3_out1_port>, <&adx3_out2_port>,
		       <&adx3_out3_port>, <&adx3_out4_port>,
		       <&adx4_out1_port>, <&adx4_out2_port>,
		       <&adx4_out3_port>, <&adx4_out4_port>,
		       <&mixer_out1_port>, <&mixer_out2_port>, <&mixer_out3_port>,
		       <&mixer_out4_port>, <&mixer_out5_port>,
		       <&asrc_out1_port>, <&asrc_out2_port>, <&asrc_out3_port>,
		       <&asrc_out4_port>, <&asrc_out5_port>, <&asrc_out6_port>,
		       /* BE I/O Ports */
		       <&i2s1_port>, <&i2s2_port>, <&i2s4_port>, <&i2s6_port>,
		       <&dmic3_port>;

		label = "NVIDIA Jetson AGX Xavier APE";

		widgets =
			"Microphone",	"CVB-RT MIC Jack",
			"Microphone",	"CVB-RT MIC",
			"Headphone",	"CVB-RT HP Jack",
			"Speaker",	"CVB-RT SPK";

		routing =
			/* I2S1 <-> RT5658 */
			"CVB-RT AIF1 Playback",	"I2S1 DAP-Playback",
			"I2S1 DAP-Capture",	"CVB-RT AIF1 Capture",
			/* RT5658 Codec controls */
			"CVB-RT HP Jack",	"CVB-RT HPO L Playback",
			"CVB-RT HP Jack",	"CVB-RT HPO R Playback",
			"CVB-RT IN1P",		"CVB-RT MIC Jack",
			"CVB-RT IN2P",		"CVB-RT MIC Jack",
			"CVB-RT SPK",		"CVB-RT SPO Playback",
			"CVB-RT DMIC L1",	"CVB-RT MIC",
			"CVB-RT DMIC L2",	"CVB-RT MIC",
			"CVB-RT DMIC R1",	"CVB-RT MIC",
			"CVB-RT DMIC R2",	"CVB-RT MIC";
	};

	thermal-zones {
		cpu-thermal {
			polling-delay = <0>;
			polling-delay-passive = <500>;
			status = "okay";

			trips {
				cpu_trip_critical: critical {
					temperature = <96500>;
					hysteresis = <0>;
					type = "critical";
				};

				cpu_trip_hot: hot {
					temperature = <70000>;
					hysteresis = <2000>;
					type = "hot";
				};

				cpu_trip_active: active {
					temperature = <50000>;
					hysteresis = <2000>;
					type = "active";
				};

				cpu_trip_passive: passive {
					temperature = <30000>;
					hysteresis = <2000>;
					type = "passive";
				};
			};

			cooling-maps {
				cpu-critical {
					cooling-device = <&fan 3 3>;
					trip = <&cpu_trip_critical>;
				};

				cpu-hot {
					cooling-device = <&fan 2 2>;
					trip = <&cpu_trip_hot>;
				};

				cpu-active {
					cooling-device = <&fan 1 1>;
					trip = <&cpu_trip_active>;
				};

				cpu-passive {
					cooling-device = <&fan 0 0>;
					trip = <&cpu_trip_passive>;
				};
			};
		};

		gpu-thermal {
			polling-delay = <0>;
			polling-delay-passive = <500>;
			status = "okay";

			trips {
				gpu_alert0: critical {
					temperature = <99000>;
					hysteresis = <0>;
					type = "critical";
				};
			};
		};

		aux-thermal {
			polling-delay = <0>;
			polling-delay-passive = <500>;
			status = "okay";

			trips {
				aux_alert0: critical {
					temperature = <90000>;
					hysteresis = <0>;
					type = "critical";
				};
			};
		};
	};
};
